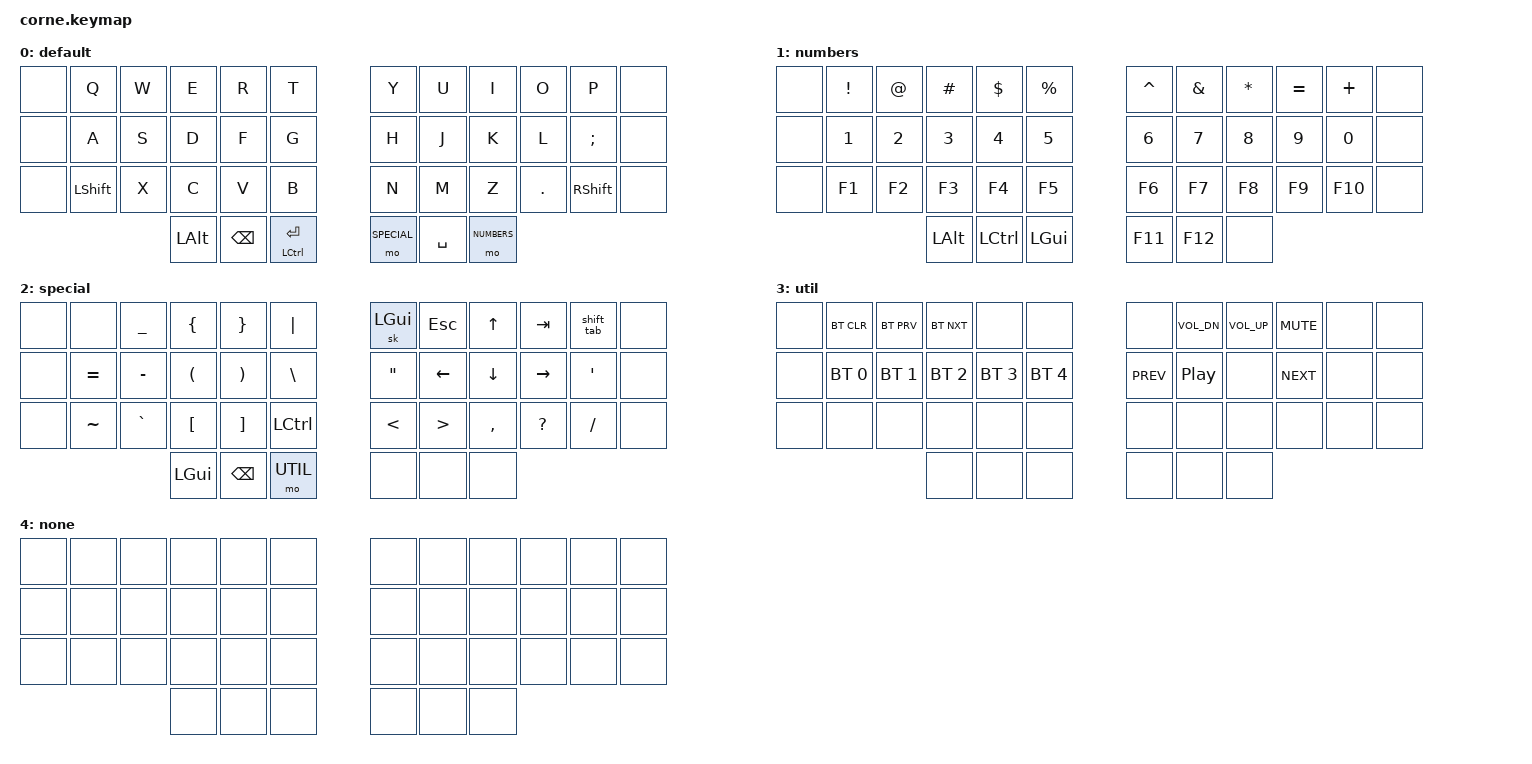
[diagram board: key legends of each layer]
#include <behaviors.dtsi>
#include <dt-bindings/zmk/keys.h>
#include <dt-bindings/zmk/bt.h>

#define TIMEOUT <200>
#define DEFAULT 0
#define NUMBERS 1
#define SPECIAL 2
#define UTIL 3

&mt {
  flavor = "balanced";
  tapping-term-ms = <150>;
};

/ {
  macros {
    ZMK_MACRO(shift_tab,
      bindings
        = <&macro_press &kp LSHIFT>
        , <&macro_tap &kp TAB>
        , <&macro_release &kp LSHIFT>
      ;
    )
  };

  keymap {
    compatible = "zmk,keymap";

    default {
      bindings = <
        &none &kp Q      &kp W &kp E &kp R &kp T      &kp Y &kp U   &kp I &kp O   &kp P      &none
        &none &kp A      &kp S &kp D &kp F &kp G      &kp H &kp J   &kp K &kp L   &kp SEMI   &none
        &none &kp LSHIFT &kp X &kp C &kp V &kp B      &kp N &kp M   &kp Z &kp DOT &kp RSHIFT &none
          &kp LALT &kp BACKSPACE &mt LCTRL ENTER      &mo SPECIAL &kp SPACE &mo NUMBERS
      >;
    };

    numbers {
      bindings = <
        &none &kp EXCL &kp AT &kp HASH &kp DLLR &kp PRCNT      &kp CARET &kp AMPS &kp STAR &kp EQUAL &kp PLUS &none
        &none &kp N1   &kp N2 &kp N3   &kp N4   &kp N5         &kp N6    &kp N7   &kp N8   &kp N9    &kp N0   &none
        &none &kp F1   &kp F2 &kp F3   &kp F4   &kp F5         &kp F6    &kp F7   &kp F8   &kp F9    &kp F10  &none
                             &kp LALT &kp LCTRL &kp LGUI       &kp F11 &kp F12 &none
      >;
    };

    special {
      bindings = <
        &none &none     &kp UNDER &kp LBRC &kp RBRC &kp PIPE     &sk LGUI &kp ESC  &kp UP    &kp TAB   &shift_tab &none
        &none &kp EQUAL &kp MINUS &kp LPAR &kp RPAR &kp BSLH     &kp DQT  &kp LEFT &kp DOWN  &kp RIGHT &kp SQT    &none
        &none &kp TILDE &kp GRAVE &kp LBKT &kp RBKT &kp LCTRL    &kp LT   &kp GT   &kp COMMA &kp QMARK &kp SLASH  &none
                             &kp LGUI &kp BACKSPACE &mo UTIL     &none &none &none
      >;
    };

    util {
      bindings = <
        &none &bt BT_CLR   &bt BT_PRV   &bt BT_NXT   &none        &none           &none       &kp C_VOL_DN &kp C_VOL_UP &kp C_MUTE &none &none
        &none &bt BT_SEL 0 &bt BT_SEL 1 &bt BT_SEL 2 &bt BT_SEL 3 &bt BT_SEL 4    &kp C_PREV  &kp C_PP     &none        &kp C_NEXT &none &none
        &none &none        &none        &none        &none        &none           &none       &none        &none        &none      &none &none
                                                      &none &none &none           &none &none &none
      >;
    };

    none {
      bindings = <
        &none &none &none &none &none &none      &none &none &none &none &none &none
        &none &none &none &none &none &none      &none &none &none &none &none &none
        &none &none &none &none &none &none      &none &none &none &none &none &none
                          &none &none &none      &none &none &none
      >;
    };
  };
};
